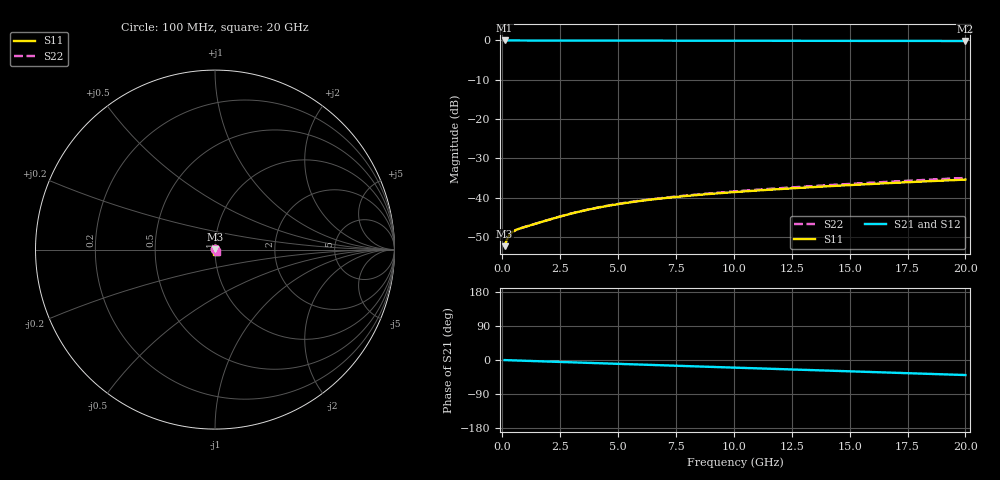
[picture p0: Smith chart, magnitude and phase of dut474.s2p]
! Touchstone file exported from HFSS 2026.1.0
!  File:  C:/ffzhzh/LocalFiles/Ansys_Project_Files/temp_train_BSMRDL_474_1783013729_55676.aedt
!  Generated:  01:36:37 AM Jul  3, 2026
!  Design:  BSMRDL
!  Project:  temp_train_BSMRDL_474_1783013729_55676
! Variables:
!  h_bsmrdl = 4.39um
!  h_ox = 20um
!  h_rdl = 5um
!  h_sub = 80um
!  h_tmrdl = 5um
!  h_tsv = 80um
!  h_via = 3um
!  l_bsmrdl = 703.02um
!  l_sub = 1103.02um
!  l_tmrdl = 200um
!  m_sub = 200um
!  pitch = 34.29um
!  r_tsv = 6um
!  s_tmrdl = 10um
!  w_bsmrdl = 28.97um
!  w_sub = 500um
!  w_tmrdl = 12um
!  x_tsv_center1 = 206um
!  x_tsv_center2 = 937.99um
!  x_tsv_center3 = 1149.99um
!  x_tsv_center4 = 1881.98um
!  x_tsv_center5 = 2093.98um
!  x_tsv_center6 = 2825.97um
# GHz S MA R 50.000000
! Terminal data exported
! Port[1] = BSM_RDL1_1_T1
! Port[2] = BSM_RDL1_1_T2
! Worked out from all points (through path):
!   200 points, 100 MHz to 20 GHz, reference 50 ohm
!   highest |S21| = -0.02 dB at 100 MHz (marker M1); lowest = -0.2 dB at 20 GHz (marker M2)
!   group delay of S21, straight-line fit = 5.49 ps
!   lowest |S11| = -52.3 dB at 100 MHz (marker M3), VSWR 1.00, Z = 50.2 + j0.0694 ohm
!   |S11| at or under -10 dB: start of sweep to end of sweep
!   |S22| runs from -52.3 to -35.0 dB; largest |S21 - S12| = 2.4e-15
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0.1  0.002426 16.5  0.9977 -0.2  0.9977 -0.2  0.002426 16.5
! Gamma 0 0 0 0
! Port Impedance 50 0 50 0
0.2  0.002957 21.0  0.9973 -0.5  0.9973 -0.5  0.002957 21.0
0.3  0.003347 20.8  0.9969 -0.7  0.9969 -0.7  0.003348 20.8
0.4  0.003602 19.9  0.9966 -0.9  0.9966 -0.9  0.003603 19.9
0.5  0.003775 19.1  0.9964 -1.1  0.9964 -1.1  0.003777 19.1
0.6  0.003905 18.7  0.9963 -1.3  0.9963 -1.3  0.003907 18.8
0.7  0.004011 18.6  0.9962 -1.5  0.9962 -1.5  0.004014 18.6
0.9  0.004196 18.9  0.996 -1.9  0.996 -1.9  0.0042 18.9
2.3  0.005561 21.3  0.995 -4.7  0.995 -4.7  0.005572 21.2
2.9  0.00621 20.2  0.9944 -6.0  0.9944 -6.0  0.006227 20.1
3.5  0.006849 18.2  0.9938 -7.2  0.9938 -7.2  0.006874 18.1
4.2  0.007559 15.0  0.993 -8.6  0.993 -8.6  0.007595 14.9
5  0.008307 10.7  0.9922 -10.2  0.9922 -10.2  0.008361 10.6
5.9  0.009069 5.7  0.9913 -12.0  0.9913 -12.0  0.009145 5.6
6.8  0.009755 0.5  0.9904 -13.8  0.9904 -13.8  0.009859 0.5
8.3  0.01077 -7.9  0.9891 -16.7  0.9891 -16.7  0.01093 -7.9
10.1  0.01186 -17.4  0.9878 -20.3  0.9878 -20.3  0.01209 -17.4
11.6  0.01269 -25.0  0.9868 -23.2  0.9868 -23.2  0.01301 -24.7
13.4  0.01366 -33.5  0.9857 -26.7  0.9857 -26.7  0.01407 -33.1
15  0.01449 -40.6  0.9848 -29.9  0.9848 -29.9  0.015 -40.0
16.7  0.01537 -47.9  0.9838 -33.2  0.9838 -33.2  0.01598 -47.0
20  0.01701 -61.0  0.9822 -39.7  0.9822 -39.7  0.01785 -59.6
